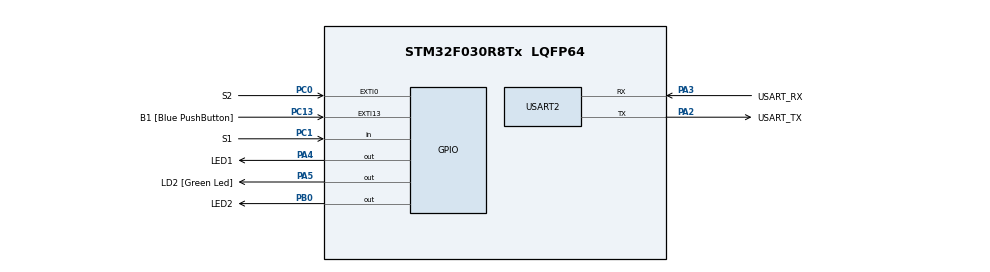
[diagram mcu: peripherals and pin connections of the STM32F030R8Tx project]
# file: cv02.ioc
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Mcu.Family=STM32F0
Mcu.Name=STM32F030R8Tx
Mcu.Package=LQFP64
NVIC.EXTI0_1_IRQn=true\:0\:0\:false\:false\:true\:true\:true\:true
PA13.GPIO_Label=TMS
PA13.Mode=Serial_Wire
PA13.Signal=SYS_SWDIO
PA14.GPIO_Label=TCK
PA14.Mode=Serial_Wire
PA14.Signal=SYS_SWCLK
PA2.GPIO_Label=USART_TX
PA2.GPIO_Mode=GPIO_MODE_AF_PP
PA2.GPIO_PuPd=GPIO_NOPULL
PA2.GPIO_Speed=GPIO_SPEED_FREQ_LOW
PA2.Mode=Asynchronous
PA2.Signal=USART2_TX
PA3.GPIO_Label=USART_RX
PA3.GPIO_Mode=GPIO_MODE_AF_PP
PA3.GPIO_PuPd=GPIO_NOPULL
PA3.GPIO_Speed=GPIO_SPEED_FREQ_LOW
PA3.Mode=Asynchronous
PA3.Signal=USART2_RX
PA4.GPIO_Label=LED1
PA4.Signal=GPIO_Output
PA5.GPIO_Label=LD2 [Green Led]
PA5.GPIO_Mode=GPIO_MODE_OUTPUT_PP
PA5.GPIO_PuPd=GPIO_NOPULL
PA5.GPIO_Speed=GPIO_SPEED_FREQ_LOW
PA5.Signal=GPIO_Output
PB0.GPIO_Label=LED2
PB0.Signal=GPIO_Output
PC0.GPIO_Label=S2
PC0.GPIO_PuPd=GPIO_PULLUP
PC0.Signal=GPXTI0
PC1.GPIO_Label=S1
PC1.GPIO_PuPd=GPIO_PULLUP
PC1.Signal=GPIO_Input
PC13.GPIO_Label=B1 [Blue PushButton]
PC13.GPIO_ModeDefaultEXTI=GPIO_MODE_IT_FALLING
PC13.Signal=GPXTI13
PC14-OSC32_IN.Mode=LSE-External-Oscillator
PC14-OSC32_IN.Signal=RCC_OSC32_IN
PC15-OSC32_OUT.Mode=LSE-External-Oscillator
PC15-OSC32_OUT.Signal=RCC_OSC32_OUT
PF0-OSC_IN.Mode=HSE-External-Clock-Source
PF0-OSC_IN.Signal=RCC_OSC_IN
PF1-OSC_OUT.Signal=RCC_OSC_OUT
ProjectManager.HeapSize=0x200
ProjectManager.StackSize=0x400
ProjectManager.TargetToolchain=STM32CubeIDE
RCC.AHBFreq_Value=48000000
RCC.APB1Freq_Value=48000000
RCC.APB1TimFreq_Value=48000000
RCC.HCLKFreq_Value=48000000
RCC.PLLMUL=RCC_PLL_MUL12
RCC.SYSCLKFreq_VALUE=48000000
RCC.SYSCLKSource=RCC_SYSCLKSOURCE_PLLCLK
USART2.VirtualMode-Asynchronous=VM_ASYNC
board=NUCLEO-F030R8

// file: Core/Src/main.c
/* USER CODE BEGIN Header */
/**
 ******************************************************************************
 * @file           : main.c
 * @brief          : Main program body
 ******************************************************************************
 * @attention
 *
 * Copyright (c) 2024 STMicroelectronics.
 * All rights reserved.
 *
 * This software is licensed under terms that can be found in the LICENSE file
 * in the root directory of this software component.
 * If no LICENSE file comes with this software, it is provided AS-IS.
 *
 ******************************************************************************
 */
/* USER CODE END Header */
#include "main.h"

/* USER CODE BEGIN PD */
#define LED_TIME_BLINK 300
#define LED_TIME_SHORT 500
#define LED_TIME_LONG 1000
#define PIN_SAMPLE_TIME 100
#define PIN_SAMPLE_TIME_2 5
/* USER CODE END PD */

/* USER CODE BEGIN PV */

volatile uint32_t Tick;

/* USER CODE END PV */

void SystemClock_Config(void);
static void MX_GPIO_Init(void);
static void MX_USART2_UART_Init(void);

/* USER CODE BEGIN 0 */

void blink(void) {
	static uint32_t delay;

	if (Tick > delay + LED_TIME_BLINK) {
		LL_GPIO_TogglePin(LED2_GPIO_Port, LED2_Pin);
		delay = Tick;
	}
}

void button(void) {
	static uint32_t delay_but;
	static uint32_t delay_but_2;
	static uint32_t off_time;

	if (Tick > delay_but + PIN_SAMPLE_TIME) {
		static uint32_t old_s2;
		uint32_t new_s2 = LL_GPIO_IsInputPinSet(S2_GPIO_Port, S2_Pin);
		if (old_s2 && !new_s2) { // falling edge
			off_time = Tick + LED_TIME_SHORT;
			LL_GPIO_SetOutputPin(LED1_GPIO_Port, LED1_Pin);
		}

		/*static uint32_t old_s1;
		 uint32_t new_s1 = LL_GPIO_IsInputPinSet(S1_GPIO_Port, S1_Pin);
		 if (old_s1 && !new_s1) { // falling edge
		 off_time = Tick + LED_TIME_LONG;
		 LL_GPIO_SetOutputPin(LED1_GPIO_Port, LED1_Pin);
		 }*/

		old_s2 = new_s2;
		//old_s1 = new_s1;
		delay_but = Tick;
	}

	static uint16_t debounce = 0xFFFF;
	if (Tick > delay_but_2 + PIN_SAMPLE_TIME_2) {
		debounce = debounce << 1;
		debounce = debounce  (0xFFFE | LL_GPIO_IsInputPinSet(S1_GPIO_Port, S1_Pin));

		if (debounce == 0x7FFF) {
			off_time = Tick + LED_TIME_LONG;
			LL_GPIO_SetOutputPin(LED1_GPIO_Port, LED1_Pin);
		}

		delay_but_2 = Tick;
	}

	if (Tick > off_time) {
		LL_GPIO_ResetOutputPin(LED1_GPIO_Port, LED1_Pin);
	}
}

/* USER CODE END 0 */

int main(void) {

	/* MCU Configuration--------------------------------------------------------*/

	/* Reset of all peripherals, Initializes the Flash interface and the Systick. */
	LL_APB1_GRP2_EnableClock(LL_APB1_GRP2_PERIPH_SYSCFG);
	LL_APB1_GRP1_EnableClock(LL_APB1_GRP1_PERIPH_PWR);

	/* Configure the system clock */
	SystemClock_Config();

	/* Initialize all configured peripherals */
	MX_GPIO_Init();
	MX_USART2_UART_Init();
	/* USER CODE BEGIN 2 */
	LL_SYSTICK_EnableIT();
	/* USER CODE END 2 */

	/* Infinite loop */
	/* USER CODE BEGIN WHILE */
	while (1) {
		blink();
		button();
		/* USER CODE END WHILE */

	}
}

void SystemClock_Config(void) {
	LL_FLASH_SetLatency(LL_FLASH_LATENCY_1);
	while (LL_FLASH_GetLatency() != LL_FLASH_LATENCY_1) {
	}
	LL_RCC_HSI_Enable();

	/* Wait till HSI is ready */
	while (LL_RCC_HSI_IsReady() != 1) {

	}
	LL_RCC_HSI_SetCalibTrimming(16);
	LL_RCC_PLL_ConfigDomain_SYS(LL_RCC_PLLSOURCE_HSI_DIV_2, LL_RCC_PLL_MUL_12);
	LL_RCC_PLL_Enable();

	/* Wait till PLL is ready */
	while (LL_RCC_PLL_IsReady() != 1) {

	}
	LL_RCC_SetAHBPrescaler(LL_RCC_SYSCLK_DIV_1);
	LL_RCC_SetAPB1Prescaler(LL_RCC_APB1_DIV_1);
	LL_RCC_SetSysClkSource(LL_RCC_SYS_CLKSOURCE_PLL);

	/* Wait till System clock is ready */
	while (LL_RCC_GetSysClkSource() != LL_RCC_SYS_CLKSOURCE_STATUS_PLL) {

	}
	LL_Init1msTick(48000000);
	LL_SetSystemCoreClock(48000000);
}

static void MX_USART2_UART_Init(void) {

	LL_USART_InitTypeDef USART_InitStruct = { 0 };

	LL_GPIO_InitTypeDef GPIO_InitStruct = { 0 };

	/* Peripheral clock enable */
	LL_APB1_GRP1_EnableClock(LL_APB1_GRP1_PERIPH_USART2);

	LL_AHB1_GRP1_EnableClock(LL_AHB1_GRP1_PERIPH_GPIOA);
	/**USART2 GPIO Configuration
	 PA2   ------> USART2_TX
	 PA3   ------> USART2_RX
	 */
	GPIO_InitStruct.Pin = USART_TX_Pin;
	GPIO_InitStruct.Mode = LL_GPIO_MODE_ALTERNATE;
	GPIO_InitStruct.Speed = LL_GPIO_SPEED_FREQ_LOW;
	GPIO_InitStruct.OutputType = LL_GPIO_OUTPUT_PUSHPULL;
	GPIO_InitStruct.Pull = LL_GPIO_PULL_NO;
	GPIO_InitStruct.Alternate = LL_GPIO_AF_1;
	LL_GPIO_Init(USART_TX_GPIO_Port, &GPIO_InitStruct);

	GPIO_InitStruct.Pin = USART_RX_Pin;
	GPIO_InitStruct.Mode = LL_GPIO_MODE_ALTERNATE;
	GPIO_InitStruct.Speed = LL_GPIO_SPEED_FREQ_LOW;
	GPIO_InitStruct.OutputType = LL_GPIO_OUTPUT_PUSHPULL;
	GPIO_InitStruct.Pull = LL_GPIO_PULL_NO;
	GPIO_InitStruct.Alternate = LL_GPIO_AF_1;
	LL_GPIO_Init(USART_RX_GPIO_Port, &GPIO_InitStruct);

	USART_InitStruct.BaudRate = 38400;
	USART_InitStruct.DataWidth = LL_USART_DATAWIDTH_8B;
	USART_InitStruct.StopBits = LL_USART_STOPBITS_1;
	USART_InitStruct.Parity = LL_USART_PARITY_NONE;
	USART_InitStruct.TransferDirection = LL_USART_DIRECTION_TX_RX;
	USART_InitStruct.HardwareFlowControl = LL_USART_HWCONTROL_NONE;
	USART_InitStruct.OverSampling = LL_USART_OVERSAMPLING_16;
	LL_USART_Init(USART2, &USART_InitStruct);
	LL_USART_DisableIT_CTS(USART2);
	LL_USART_ConfigAsyncMode(USART2);
	LL_USART_Enable(USART2);

}

static void MX_GPIO_Init(void) {
	LL_EXTI_InitTypeDef EXTI_InitStruct = { 0 };
	LL_GPIO_InitTypeDef GPIO_InitStruct = { 0 };

	/* GPIO Ports Clock Enable */
	LL_AHB1_GRP1_EnableClock(LL_AHB1_GRP1_PERIPH_GPIOC);
	LL_AHB1_GRP1_EnableClock(LL_AHB1_GRP1_PERIPH_GPIOF);
	LL_AHB1_GRP1_EnableClock(LL_AHB1_GRP1_PERIPH_GPIOA);
	LL_AHB1_GRP1_EnableClock(LL_AHB1_GRP1_PERIPH_GPIOB);

	/**/
	LL_GPIO_ResetOutputPin(LED1_GPIO_Port, LED1_Pin);

	/**/
	LL_GPIO_ResetOutputPin(LD2_GPIO_Port, LD2_Pin);

	/**/
	LL_GPIO_ResetOutputPin(LED2_GPIO_Port, LED2_Pin);

	/**/
	LL_SYSCFG_SetEXTISource(LL_SYSCFG_EXTI_PORTC, LL_SYSCFG_EXTI_LINE13);

	/**/
	LL_GPIO_SetPinPull(B1_GPIO_Port, B1_Pin, LL_GPIO_PULL_NO);

	/**/
	LL_GPIO_SetPinMode(B1_GPIO_Port, B1_Pin, LL_GPIO_MODE_INPUT);

	/**/
	EXTI_InitStruct.Line_0_31 = LL_EXTI_LINE_13;
	EXTI_InitStruct.LineCommand = ENABLE;
	EXTI_InitStruct.Mode = LL_EXTI_MODE_IT;
	EXTI_InitStruct.Trigger = LL_EXTI_TRIGGER_FALLING;
	LL_EXTI_Init(&EXTI_InitStruct);

	/**/
	GPIO_InitStruct.Pin = S2_Pin;
	GPIO_InitStruct.Mode = LL_GPIO_MODE_INPUT;
	GPIO_InitStruct.Pull = LL_GPIO_PULL_UP;
	LL_GPIO_Init(S2_GPIO_Port, &GPIO_InitStruct);

	/**/
	GPIO_InitStruct.Pin = S1_Pin;
	GPIO_InitStruct.Mode = LL_GPIO_MODE_INPUT;
	GPIO_InitStruct.Pull = LL_GPIO_PULL_UP;
	LL_GPIO_Init(S1_GPIO_Port, &GPIO_InitStruct);

	/**/
	GPIO_InitStruct.Pin = LED1_Pin;
	GPIO_InitStruct.Mode = LL_GPIO_MODE_OUTPUT;
	GPIO_InitStruct.Speed = LL_GPIO_SPEED_FREQ_LOW;
	GPIO_InitStruct.OutputType = LL_GPIO_OUTPUT_PUSHPULL;
	GPIO_InitStruct.Pull = LL_GPIO_PULL_NO;
	LL_GPIO_Init(LED1_GPIO_Port, &GPIO_InitStruct);

	/**/
	GPIO_InitStruct.Pin = LD2_Pin;
	GPIO_InitStruct.Mode = LL_GPIO_MODE_OUTPUT;
	GPIO_InitStruct.Speed = LL_GPIO_SPEED_FREQ_LOW;
	GPIO_InitStruct.OutputType = LL_GPIO_OUTPUT_PUSHPULL;
	GPIO_InitStruct.Pull = LL_GPIO_PULL_NO;
	LL_GPIO_Init(LD2_GPIO_Port, &GPIO_InitStruct);

	/**/
	GPIO_InitStruct.Pin = LED2_Pin;
	GPIO_InitStruct.Mode = LL_GPIO_MODE_OUTPUT;
	GPIO_InitStruct.Speed = LL_GPIO_SPEED_FREQ_LOW;
	GPIO_InitStruct.OutputType = LL_GPIO_OUTPUT_PUSHPULL;
	GPIO_InitStruct.Pull = LL_GPIO_PULL_NO;
	LL_GPIO_Init(LED2_GPIO_Port, &GPIO_InitStruct);

}

void Error_Handler(void) {
	__disable_irq();
	while (1) {
	}
}
